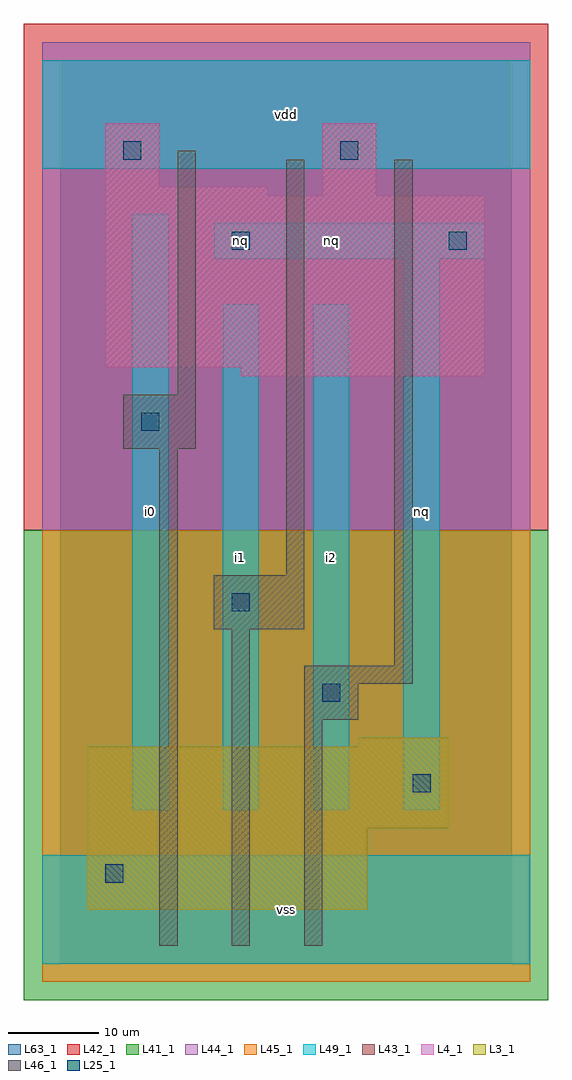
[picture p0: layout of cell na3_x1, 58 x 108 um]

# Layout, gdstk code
import gdstk
lib = gdstk.Library(unit=1e-6, precision=1e-09)
def R(c, l, rs):  # rectangles x0, y0, x1, y1
    for r in rs: c.add(gdstk.rectangle(r[:2], r[2:], *l))
L3_1 = (3, 1)
L4_1 = (4, 1)
L25_1 = (25, 1)
L41_1 = (41, 1)
L42_1 = (42, 1)
L43_1 = (43, 1)
L44_1 = (44, 1)
L45_1 = (45, 1)
L46_1 = (46, 1)
L49_1 = (49, 1)
L63_1 = (63, 1)

na3_x1 = lib.new_cell('na3_x1')
R(na3_x1, L3_1, [(3,6,34,15), (3,15,43,24), (33,24,43,25)])
R(na3_x1, L4_1, [(20,65,47,66), (5,66,47,85), (5,85,23,86), (29,85,35,93), (5,86,11,93)])
R(na3_x1, L25_1, [(5,9,7,11), (39,19,41,21), (29,29,31,31), (19,39,21,41), (9,59,11,61), (19,79,21,81), (43,79,45,81), (7,89,9,91), (31,89,33,91)])
R(na3_x1, L41_1, [(-4,-4,54,48)])
R(na3_x1, L42_1, [(-4,48,54,104)])
R(na3_x1, L43_1, [(3,6,34,15), (3,15,43,24), (33,24,43,25), (20,65,47,66), (5,66,47,85), (5,85,23,86), (29,85,35,93), (5,86,11,93)])
R(na3_x1, L44_1, [(-2,48,52,102)])
R(na3_x1, L45_1, [(-2,-2,52,48)])
R(na3_x1, L46_1, [(11,2,13,57), (19,2,21,37), (27,2,29,27), (27,27,33,31), (27,31,39,33), (37,33,39,89), (17,37,27,43), (25,43,27,89), (7,57,15,63), (13,63,15,90)])
R(na3_x1, L49_1, [(-2,0,52,12), (8,17,12,83), (18,17,22,73), (28,17,32,73), (38,17,42,78), (17,78,47,82), (-2,88,52,100)])
R(na3_x1, L63_1, [(0,0,50,100)])
na3_x1.add(gdstk.Label('i1', (20,45), layer=49, texttype=1))
na3_x1.add(gdstk.Label('i0', (10,50), layer=49, texttype=1))
na3_x1.add(gdstk.Label('nq', (20,80), layer=49, texttype=1))
na3_x1.add(gdstk.Label('vss', (25,6), layer=49, texttype=1))
na3_x1.add(gdstk.Label('i2', (30,45), layer=49, texttype=1))
na3_x1.add(gdstk.Label('vdd', (25,94), layer=49, texttype=1))
na3_x1.add(gdstk.Label('nq', (30,80), layer=49, texttype=1))
na3_x1.add(gdstk.Label('nq', (40,50), layer=49, texttype=1))

lib.write_gds('na3_x1.gds')
